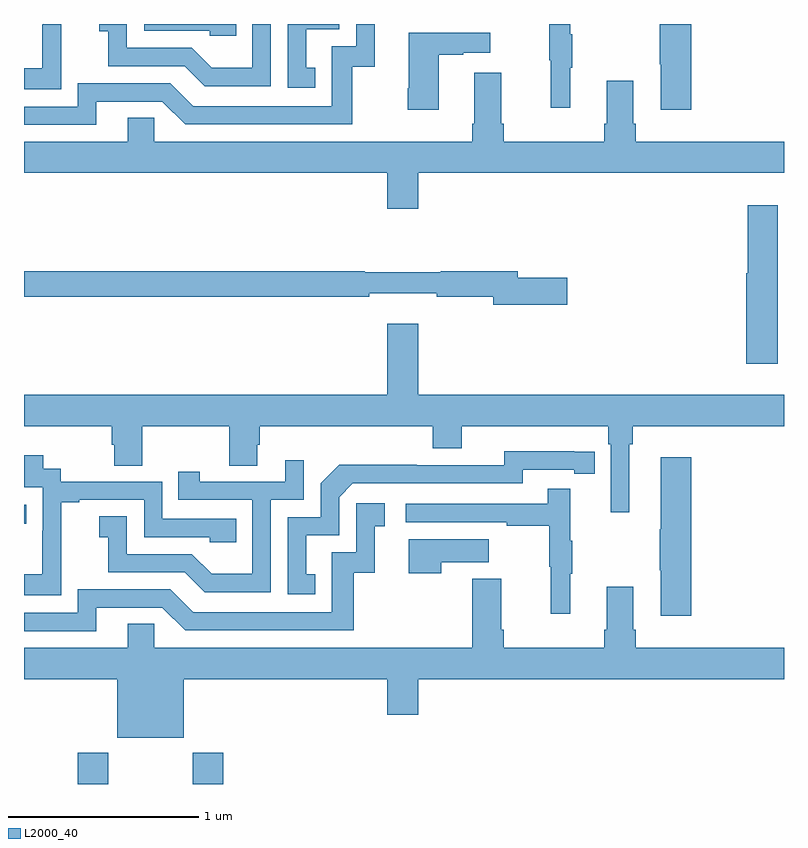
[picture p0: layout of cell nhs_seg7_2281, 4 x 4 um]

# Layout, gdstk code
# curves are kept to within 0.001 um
import gdstk
lib = gdstk.Library(unit=1e-6, precision=1e-09)
def R(c, l, rs):  # rectangles x0, y0, x1, y1
    for r in rs: c.add(gdstk.rectangle(r[:2], r[2:], *l))
def P(c, l, *ps):  # polygons
    for p in ps: c.add(gdstk.Polygon(p, *l))
L2000_40 = (2000, 40)

nhs_seg7_2281 = lib.new_cell('nhs_seg7_2281')
R(nhs_seg7_2281, L2000_40, [(259.283,1064,259.443,1064.164), (259.888,1064,260.048,1064.164), (259,1065.37,259.013,1065.471)])
P(nhs_seg7_2281, L2000_40, [(260.117,1068),(259.632,1068),(259.632,1067.964),(259.977,1067.964),(259.977,1067.937),(260.117,1067.937)],
  [(261.875,1067.771),(261.886,1067.771),(261.886,1067.945),(261.875,1067.945),(261.875,1068),(261.765,1068),(261.765,1067.808),(261.772,1067.808),(261.772,1067.559),(261.875,1067.559)],
  [(262.511,1068),(262.345,1068),(262.345,1067.788),(262.352,1067.788),(262.352,1067.55),(262.511,1067.55)],
  [(260.534,1067.769),(260.485,1067.769),(260.485,1067.973),(260.658,1067.973),(260.658,1068),(260.388,1068),(260.388,1067.664),(260.534,1067.664)],
  [(259.381,1067.592),(259.728,1067.592),(259.848,1067.472),(260.728,1067.472),(260.728,1067.775),(260.846,1067.775),(260.846,1068),(260.748,1068),(260.748,1067.883),(260.619,1067.883),(260.619,1067.568),(259.89,1067.568),(259.77,1067.688),(259.284,1067.688),(259.284,1067.565),(259,1067.565),(259,1067.469),(259.381,1067.469)],
  [(260.298,1068),(260.202,1068),(260.202,1067.77),(259.988,1067.77),(259.884,1067.874),(259.542,1067.874),(259.542,1068),(259.395,1068),(259.395,1067.963),(259.444,1067.963),(259.444,1067.778),(259.847,1067.778),(259.952,1067.673),(260.298,1067.673)],
  [(259.197,1067.863),(259.196,1067.863),(259.196,1068),(259.098,1068),(259.098,1067.996),(259.097,1067.996),(259.097,1067.767),(259,1067.767),(259,1067.657),(259.197,1067.657)],
  [(261.184,1067.839),(261.311,1067.839),(261.311,1067.849),(261.454,1067.849),(261.454,1067.953),(261.026,1067.953),(261.026,1067.662),(261.019,1067.662),(261.019,1067.55),(261.184,1067.55)],
  [(263,1067.38),(262.22,1067.38),(262.22,1067.476),(262.207,1067.476),(262.207,1067.701),(262.067,1067.701),(262.067,1067.476),(262.055,1067.476),(262.055,1067.38),(261.524,1067.38),(261.524,1067.476),(261.511,1067.476),(261.511,1067.743),(261.371,1067.743),(261.371,1067.476),(261.359,1067.476),(261.359,1067.38),(259.686,1067.38),(259.686,1067.507),(259.547,1067.507),(259.547,1067.38),(259,1067.38),(259,1067.216),(260.912,1067.216),(260.912,1067.028),(261.076,1067.028),(261.076,1067.216),(263,1067.216)],
  [(262.966,1067.047),(262.808,1067.047),(262.808,1066.689),(262.802,1066.689),(262.802,1066.212),(262.966,1066.212)],
  [(261.859,1066.664),(261.598,1066.664),(261.598,1066.7),(261.194,1066.7),(261.194,1066.693),(260.794,1066.693),(260.794,1066.7),(259,1066.7),(259,1066.564),(260.816,1066.564),(260.816,1066.583),(261.172,1066.583),(261.172,1066.564),(261.47,1066.564),(261.47,1066.522),(261.859,1066.522)],
  [(262.186,1065.788),(262.205,1065.788),(262.205,1065.884),(263,1065.884),(263,1066.048),(261.076,1066.048),(261.076,1066.423),(260.912,1066.423),(260.912,1066.048),(259,1066.048),(259,1065.884),(259.463,1065.884),(259.463,1065.786),(259.475,1065.786),(259.475,1065.676),(259.623,1065.676),(259.623,1065.884),(260.08,1065.884),(260.08,1065.676),(260.227,1065.676),(260.227,1065.786),(260.24,1065.786),(260.24,1065.884),(261.152,1065.884),(261.152,1065.767),(261.304,1065.767),(261.304,1065.884),(262.076,1065.884),(262.076,1065.788),(262.089,1065.788),(262.089,1065.429),(262.186,1065.429)],
  [(260.534,1065.105),(260.485,1065.105),(260.485,1065.309),(260.658,1065.309),(260.658,1065.51),(260.73,1065.582),(261.624,1065.582),(261.624,1065.654),(261.896,1065.654),(261.896,1065.634),(262.004,1065.634),(262.004,1065.75),(261.528,1065.751),(261.528,1065.678),(261.068,1065.678),(261.068,1065.68),(260.66,1065.68),(260.562,1065.582),(260.562,1065.405),(260.388,1065.405),(260.388,1065),(260.534,1065)],
  [(259.197,1065.199),(259.196,1065.199),(259.196,1065.483),(259.291,1065.483),(259.291,1065.495),(259.632,1065.495),(259.632,1065.3),(259.977,1065.3),(259.977,1065.273),(260.117,1065.273),(260.117,1065.396),(259.728,1065.396),(259.728,1065.591),(259.194,1065.591),(259.194,1065.66),(259.102,1065.66),(259.102,1065.73),(259,1065.73),(259,1065.561),(259.098,1065.561),(259.098,1065.332),(259.097,1065.332),(259.097,1065.103),(259,1065.103),(259,1064.993),(259.197,1064.993)],
  [(262.511,1065.721),(262.352,1065.721),(262.352,1065.341),(262.345,1065.341),(262.345,1065.124),(262.352,1065.124),(262.352,1064.886),(262.511,1064.886)],
  [(260.298,1065.495),(260.472,1065.495),(260.472,1065.703),(260.375,1065.703),(260.375,1065.591),(259.924,1065.591),(259.924,1065.643),(259.813,1065.643),(259.813,1065.495),(260.202,1065.495),(260.202,1065.106),(259.988,1065.106),(259.884,1065.21),(259.542,1065.21),(259.542,1065.409),(259.395,1065.409),(259.395,1065.299),(259.444,1065.299),(259.444,1065.114),(259.847,1065.114),(259.952,1065.009),(260.298,1065.009)],
  [(261.875,1065.107),(261.886,1065.107),(261.886,1065.281),(261.875,1065.281),(261.875,1065.553),(261.757,1065.553),(261.757,1065.474),(261.009,1065.474),(261.009,1065.378),(261.541,1065.378),(261.541,1065.358),(261.765,1065.358),(261.765,1065.144),(261.772,1065.144),(261.772,1064.895),(261.875,1064.895)],
  [(259.381,1064.928),(259.728,1064.928),(259.848,1064.808),(260.735,1064.808),(260.735,1065.111),(260.846,1065.111),(260.846,1065.357),(260.899,1065.357),(260.899,1065.478),(260.748,1065.478),(260.748,1065.219),(260.619,1065.219),(260.619,1064.904),(259.89,1064.904),(259.77,1065.024),(259.284,1065.024),(259.284,1064.901),(259,1064.901),(259,1064.805),(259.381,1064.805)],
  [(261.197,1065.167),(261.445,1065.167),(261.445,1065.289),(261.026,1065.289),(261.026,1065.108),(261.197,1065.108)],
  [(259.84,1064.552),(260.912,1064.552),(260.912,1064.364),(261.076,1064.364),(261.076,1064.552),(263,1064.552),(263,1064.716),(262.22,1064.716),(262.22,1064.812),(262.207,1064.812),(262.207,1065.037),(262.067,1065.037),(262.067,1064.812),(262.055,1064.812),(262.055,1064.716),(261.524,1064.716),(261.524,1064.812),(261.511,1064.812),(261.511,1065.079),(261.359,1065.079),(261.359,1064.716),(259.686,1064.716),(259.686,1064.843),(259.547,1064.843),(259.547,1064.716),(259,1064.716),(259,1064.552),(259.49,1064.552),(259.49,1064.243),(259.84,1064.243)])

lib.write_gds('nhs_seg7_2281.gds')
